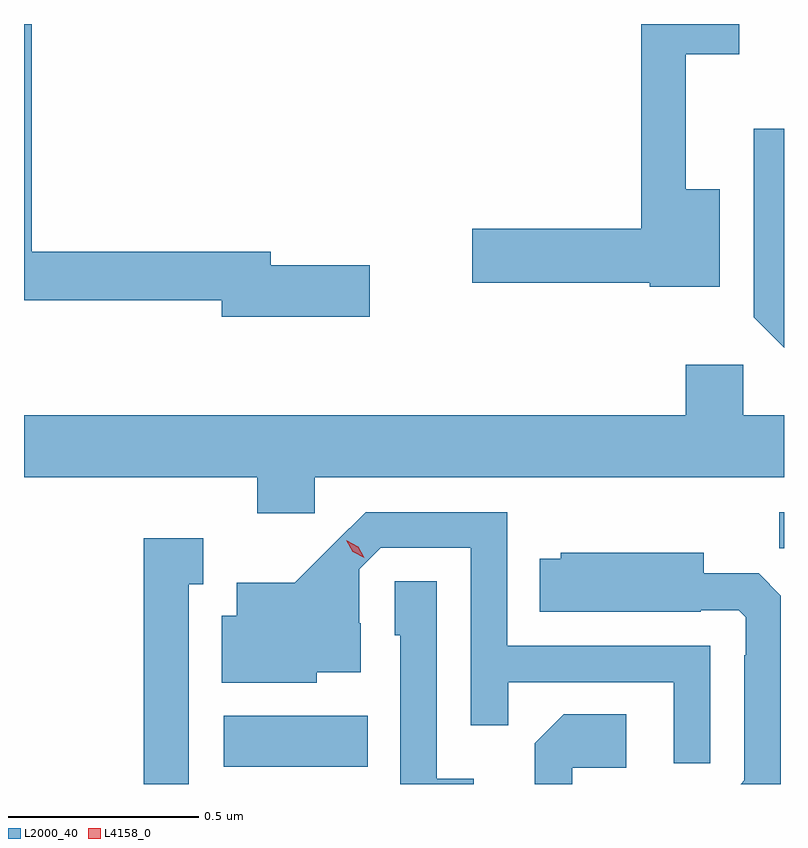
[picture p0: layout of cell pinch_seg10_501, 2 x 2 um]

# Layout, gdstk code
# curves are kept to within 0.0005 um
import gdstk
lib = gdstk.Library(unit=1e-6, precision=1e-09)
def R(c, l, rs):  # rectangles x0, y0, x1, y1
    for r in rs: c.add(gdstk.rectangle(r[:2], r[2:], *l))
def P(c, l, *ps):  # polygons
    for p in ps: c.add(gdstk.Polygon(p, *l))
L2000_40 = (2000, 40)
L4158_0 = (4158, 0)

pinch_seg10_501 = lib.new_cell('pinch_seg10_501')
R(pinch_seg10_501, L2000_40, [(322.524,1296.89,322.904,1297.024), (323.986,1297.465,323.999,1297.56)])
P(pinch_seg10_501, L2000_40, [(322.909,1298.21),(322.648,1298.21),(322.648,1298.246),(322.019,1298.246),(322.019,1298.845),(321.999,1298.845),(321.999,1298.118),(322.52,1298.118),(322.52,1298.075),(322.909,1298.075)],
  [(323.83,1298.41),(323.741,1298.41),(323.741,1298.766),(323.881,1298.766),(323.881,1298.845),(323.623,1298.845),(323.623,1298.306),(323.178,1298.306),(323.178,1298.164),(323.646,1298.164),(323.646,1298.153),(323.83,1298.153)],
  [(323.999,1298.569),(323.919,1298.569),(323.919,1298.073),(323.999,1297.993)],
  [(322.764,1297.652),(323.999,1297.652),(323.999,1297.816),(323.892,1297.816),(323.892,1297.948),(323.741,1297.948),(323.741,1297.816),(321.999,1297.816),(321.999,1297.652),(322.613,1297.652),(322.613,1297.557),(322.764,1297.557)],
  [(323.805,1297.209),(323.271,1297.209),(323.271,1297.56),(322.898,1297.56),(322.711,1297.375),(322.559,1297.375),(322.559,1297.288),(322.52,1297.288),(322.52,1297.112),(322.77,1297.112),(322.77,1297.139),(322.885,1297.139),(322.885,1297.268),(322.881,1297.268),(322.881,1297.41),(322.938,1297.467),(323.175,1297.467),(323.175,1297),(323.273,1297),(323.273,1297.113),(323.709,1297.113),(323.709,1296.9),(323.805,1296.9)],
  [(322.432,1297.371),(322.471,1297.371),(322.471,1297.492),(322.314,1297.492),(322.314,1296.845),(322.432,1296.845)],
  [(323.991,1297.34),(323.932,1297.399),(323.788,1297.399),(323.788,1297.453),(323.412,1297.453),(323.412,1297.438),(323.356,1297.438),(323.356,1297.298),(323.78,1297.298),(323.78,1297.302),(323.88,1297.302),(323.898,1297.284),(323.898,1297.184),(323.895,1297.184),(323.895,1296.855),(323.885,1296.845),(323.991,1296.845)],
  [(323.182,1296.859),(323.085,1296.859),(323.085,1297.379),(322.974,1297.379),(322.974,1297.236),(322.989,1297.236),(322.989,1296.845),(323.182,1296.845)],
  [(323.442,1296.888),(323.584,1296.888),(323.584,1297.028),(323.419,1297.028),(323.343,1296.952),(323.343,1296.845),(323.442,1296.845)])
P(pinch_seg10_501, L4158_0, [(322.895,1297.44),(322.864,1297.456),(322.847,1297.486),(322.847,1297.486),(322.847,1297.486),(322.878,1297.47),(322.895,1297.44),(322.895,1297.44)])

lib.write_gds('pinch_seg10_501.gds')
